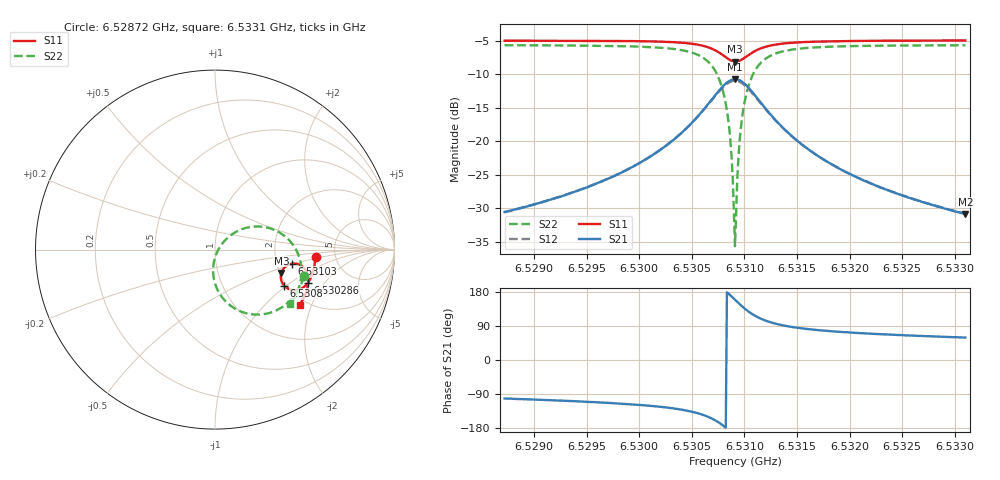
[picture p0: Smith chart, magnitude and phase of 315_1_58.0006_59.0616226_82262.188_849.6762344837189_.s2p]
#  HZ  S  RI  R  50.00
! Rohde & Schwarz Vector Network Analyzer
! Rohde-Schwarz,ZNB20-2Port,1311601062101988,3.16
! Created: UTC 3/21/2024, 1:04:21 AM
! freq[Hz]  re:S11  im:S11  re:S21  im:S21  re:S12  im:S12  re:S22  im:S22
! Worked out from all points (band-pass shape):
!   401 points, 6.52872 GHz to 6.5331 GHz, reference 50 ohm
!   highest |S21| = -10.76 dB at 6.53091 GHz (marker M1); lowest = -30.9 dB at 6.5331 GHz (marker M2)
!   |S21| within 3 dB of the highest: 6.530691 GHz to 6.53113 GHz (438.4 kHz wide, 0.00671 % of centre)
!   lowest |S11| = -8.1 dB at 6.53091 GHz (marker M3), VSWR 2.29, Z = 102 - j31.6 ohm
!   |S11| at or under -10 dB: nowhere
!   |S22| runs from -35.7 to -5.7 dB; largest |S21 - S12| = 0.011
!   S11 on the Smith chart (normalised r, x): 6.52872 GHz: 3.50, -0.44; 6.530286 GHz: 2.61, -1.39; 6.5308 GHz: 1.94, -0.96; 6.53103 GHz: 2.43, -0.47; 6.5331 GHz: 1.84, -1.65
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6.5287196e9  0.5601 -0.0429  -0.00596 -0.0289  -0.00649 -0.0287  0.4979 -0.1479
6.5294534e9  0.5513 -0.1033  -0.0146 -0.0411  -0.0156 -0.0409  0.4692 -0.2148
6.5301872e9  0.5246 -0.1746  -0.0461 -0.0708  -0.0481 -0.0697  0.3928 -0.3071
6.5302857e9  0.5168 -0.1859  -0.057 -0.0778  -0.0592 -0.0762  0.3696 -0.3235
6.5306362e9  0.4538 -0.2255  -0.1537 -0.0962  -0.1558 -0.0901  0.1863 -0.3574
6.5307348e9  0.4147 -0.2211  -0.2143 -0.0727  -0.2139 -0.064  0.0828 -0.3096
6.5308005e9  0.3856 -0.2012  -0.2575 -0.0283  -0.2533 -0.0189  0.016 -0.2279
6.5308552e9  0.3689 -0.17  -0.2791 0.0321  -0.2713 0.0398  -0.0107 -0.1238
6.5308771e9  0.3665 -0.1545  -0.2799 0.0605  -0.2711 0.0667  -0.00753 -0.0769
6.5308881e9  0.3667 -0.1468  -0.2782 0.0749  -0.269 0.0804  -0.00238 -0.0532
6.530899e9  0.3676 -0.1388  -0.2752 0.0894  -0.2657 0.094  0.00502 -0.0302
6.53091e9  0.3695 -0.1309  -0.2707 0.1035  -0.2609 0.1072  0.0145 -0.00764
6.5309209e9  0.3723 -0.1235  -0.2646 0.117  -0.255 0.1198  0.0267 0.0136
6.5309319e9  0.3756 -0.1161  -0.2576 0.13  -0.2477 0.1318  0.0404 0.0335
6.5309538e9  0.3847 -0.1032  -0.2398 0.1528  -0.2305 0.1531  0.0732 0.0684
6.5309757e9  0.3957 -0.0928  -0.2188 0.1712  -0.2103 0.1703  0.1106 0.0952
6.5310304e9  0.4274 -0.0789  -0.1616 0.1965  -0.1557 0.1938  0.2096 0.1277
6.5311071e9  0.4661 -0.0822  -0.0934 0.1945  -0.0906 0.1921  0.3241 0.1123
6.5312166e9  0.4989 -0.1047  -0.0362 0.1648  -0.0346 0.1635  0.4171 0.0483
6.5316438e9  0.521 -0.1805  0.0138 0.0816  0.0148 0.0814  0.4821 -0.1286
6.5323775e9  0.5011 -0.253  0.0166 0.0392  0.0173 0.039  0.4547 -0.244
6.5331003e9  0.4734 -0.3061  0.0146 0.0246  0.0152 0.0243  0.4194 -0.3058
